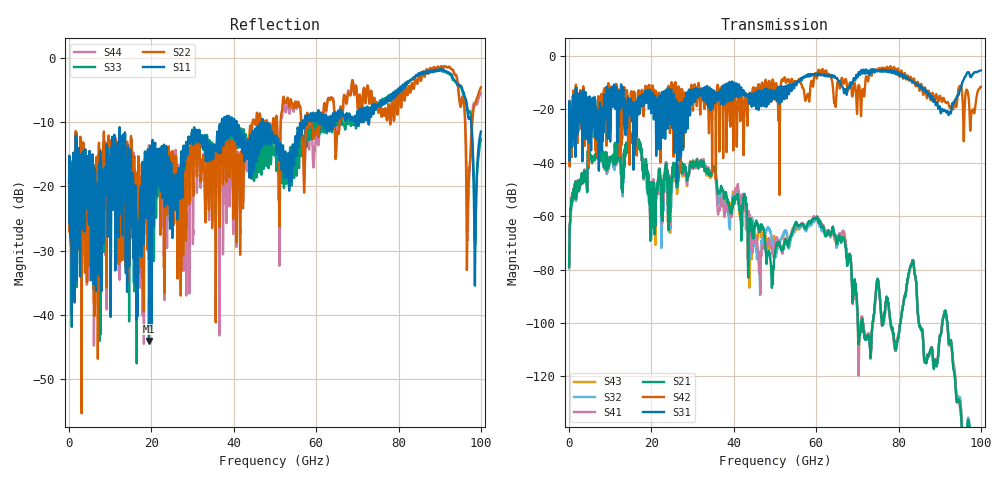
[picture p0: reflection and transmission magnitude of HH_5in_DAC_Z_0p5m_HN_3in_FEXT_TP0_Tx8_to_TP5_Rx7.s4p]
# GHz S RI R 45
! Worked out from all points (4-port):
!   4000 points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, 25 MHz to 100 GHz, reference 45 ohm
!   strongest paths, dB at 25 MHz, 25.02 GHz, 50.02 GHz, 75.03 GHz, 100 GHz:
!     S31: -22.6, -20.4, -13.5, -5.7, -5.4
!     S42: -22.5, -11.1, -12.9, -5.1, -11.5
!     S21: -79.0, -45.9, -73.6, -83.8, -179.9
!     S41: -78.6, -45.3, -69.2, -83.8, -176.5
!     S32: -79.6, -48.8, -75.3, -83.9, -182.5
!     S43: -78.6, -47.7, -70.9, -83.9, -180.7
!   lowest |S11| = -44.1 dB at 19.4 GHz (marker M1), VSWR 1.01, Z = 44.4 + j0.0632 ohm
!   |S11| at or under -10 dB: start of sweep to 37.06 GHz; 40.73 GHz to 46.9 GHz (6.166 GHz wide, 14.1 % of centre); 47.07 GHz to 56.67 GHz (9.602 GHz wide, 18.5 % of centre)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
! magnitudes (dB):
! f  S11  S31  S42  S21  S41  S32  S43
! 25 MHz  -19.3  -22.6  -22.5  -79.0  -78.6  -79.6  -78.6
! 5.05 GHz  -19.9  -19.2  -19.3  -38.4  -38.1  -38.2  -38.6
! 19.4 GHz  -44.1  -19.4  -11.7  -54.3  -52.0  -51.4  -54.4
! 35.15 GHz  -14.2  -12.9  -13.3  -42.0  -42.9  -42.0  -42.7
! 49.33 GHz  -11.5  -13.6  -9.7  -84.1  -73.4  -70.6  -70.5
! 59.88 GHz  -8.7  -6.8  -6.7  -60.9  -60.5  -61.6  -61.2
! 100 GHz  -11.4  -5.4  -11.5  -179.9  -176.5  -182.5  -180.7
